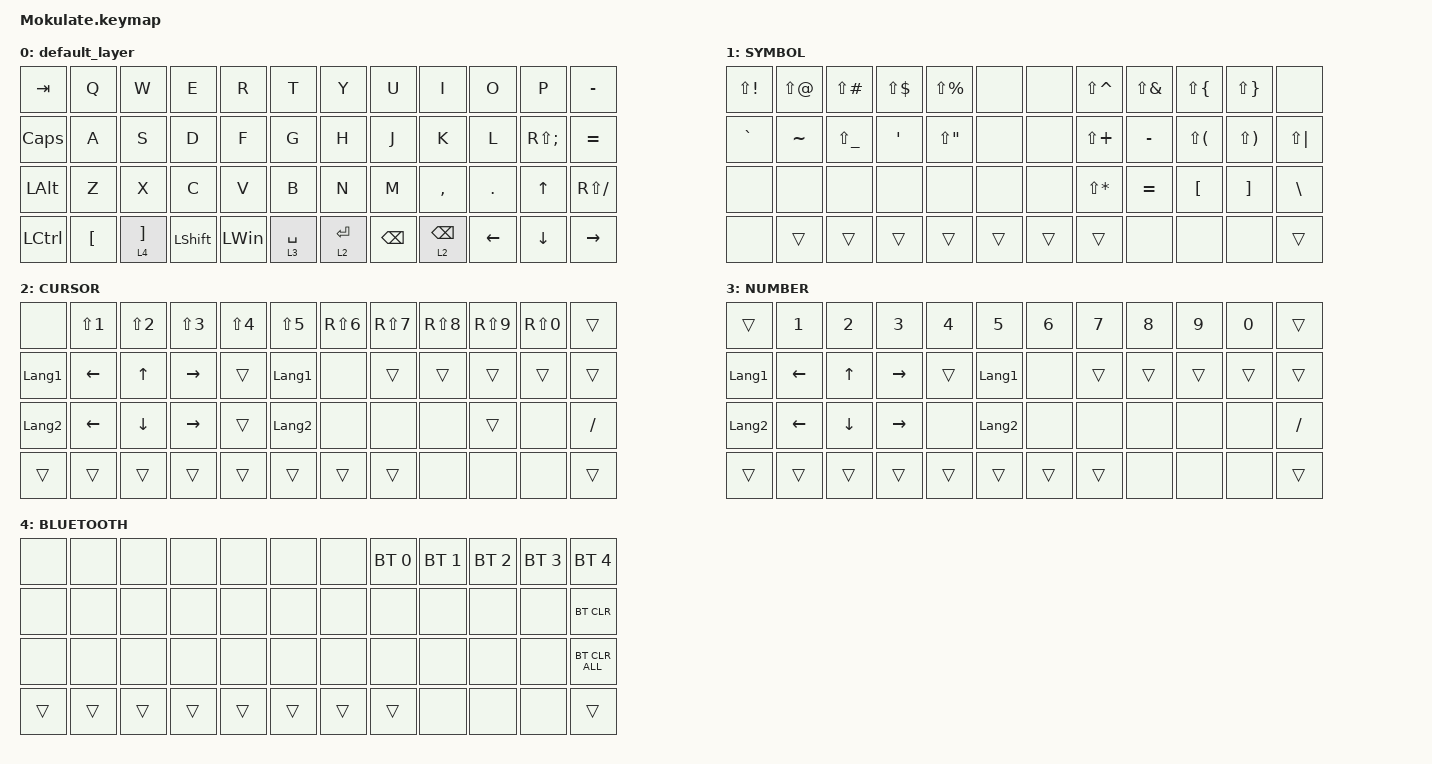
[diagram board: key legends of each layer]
#include <behaviors.dtsi>
#include <dt-bindings/zmk/bt.h>
#include <dt-bindings/zmk/keys.h>

/ {
    combos {
        compatible = "zmk,combos";

        tab {
            bindings = <&kp TAB>;
            key-positions = <5 4>;
        };

        alt {
            bindings = <&kp LEFT_ALT>;
            key-positions = <17 16>;
        };
    };

    keymap {
        compatible = "zmk,keymap";

        default_layer {
            bindings = <
&kp TAB       &kp Q             &kp W                &kp E           &kp R         &kp T          &kp Y      &kp U          &kp I            &kp O     &kp P           &kp MINUS
&kp CLCK      &kp A             &kp S                &kp D           &kp F         &kp G          &kp H      &kp J          &kp K            &kp L     &kp RS(SEMI)    &kp EQUAL
&kp LEFT_ALT  &kp Z             &kp X                &kp C           &kp V         &kp B          &kp N      &kp M          &kp COMMA        &kp DOT   &kp UP_ARROW    &kp RS(SLASH)
&kp LCTRL     &kp LEFT_BRACKET  &lt 4 RIGHT_BRACKET  &kp LEFT_SHIFT  &kp LEFT_WIN  &lt 3 SPACE    &lt 2 RET  &kp BACKSPACE  &lt 2 BACKSPACE  &kp LEFT  &kp DOWN_ARROW  &kp RIGHT
            >;
        };

        SYMBOL {
            bindings = <
&kp LS(EXCL)  &kp LS(AT)  &kp LS(POUND)  &kp LS(DLLR)  &kp LS(PRCNT)  &none     &none   &kp LS(CARET)  &kp LS(AMPS)  &kp LS(LBRC)  &kp LS(RBRC)  &none
&kp GRAVE     &kp TILDE   &kp LS(UNDER)  &kp SQT       &kp LS(DQT)    &none     &none   &kp LS(PLUS)   &kp MINUS     &kp LS(LPAR)  &kp LS(RPAR)  &kp LS(PIPE)
&none         &none       &none          &none         &none          &none     &none   &kp LS(STAR)   &kp EQUAL     &kp LBKT      &kp RBKT      &kp BSLH
&none         &trans      &trans         &trans        &trans         &trans    &trans  &trans         &none         &none         &none         &trans
            >;
        };

        CURSOR {
            bindings = <
&none           &kp LS(NUMBER_1)  &kp LS(NUMBER_2)  &kp LS(NUMBER_3)  &kp LS(NUMBER_4)  &kp LS(N5)        &kp RS(NUMBER_6)  &kp RS(N7)  &kp RS(N8)  &kp RS(N9)  &kp RS(N0)  &trans
&kp LANGUAGE_1  &kp LEFT          &kp UP_ARROW      &kp RIGHT         &trans            &kp LANGUAGE_1    &none             &trans      &trans      &trans      &trans      &trans
&kp LANGUAGE_2  &kp LEFT          &kp DOWN          &kp RIGHT         &trans            &kp LANGUAGE_2    &none             &none       &none       &trans      &none       &kp SLASH
&trans          &trans            &trans            &trans            &trans            &trans            &trans            &trans      &none       &none       &none       &trans
            >;
        };

        NUMBER {
            bindings = <
&trans          &kp NUMBER_1    &kp NUMBER_2  &kp NUMBER_3     &kp NUMBER_4  &kp N5            &kp NUMBER_6  &kp N7  &kp N8  &kp N9  &kp N0  &trans
&kp LANGUAGE_1  &kp LEFT        &kp UP_ARROW  &kp RIGHT        &trans        &kp LANGUAGE_1    &none         &trans  &trans  &trans  &trans  &trans
&kp LANGUAGE_2  &kp LEFT_ARROW  &kp DOWN      &kp RIGHT_ARROW  &none         &kp LANGUAGE_2    &none         &none   &none   &none   &none   &kp SLASH
&trans          &trans          &trans        &trans           &trans        &trans            &trans        &trans  &none   &none   &none   &trans
            >;
        };

        BLUETOOTH {
            bindings = <
&none   &none   &none   &none   &none   &none     &none   &bt BT_SEL 0  &bt BT_SEL 1  &bt BT_SEL 2  &bt BT_SEL 3  &bt BT_SEL 4
&none   &none   &none   &none   &none   &none     &none   &none         &none         &none         &none         &bt BT_CLR
&none   &none   &none   &none   &none   &none     &none   &none         &none         &none         &none         &bt BT_CLR_ALL
&trans  &trans  &trans  &trans  &trans  &trans    &trans  &trans        &none         &none         &none         &trans
            >;
        };
    };
};
